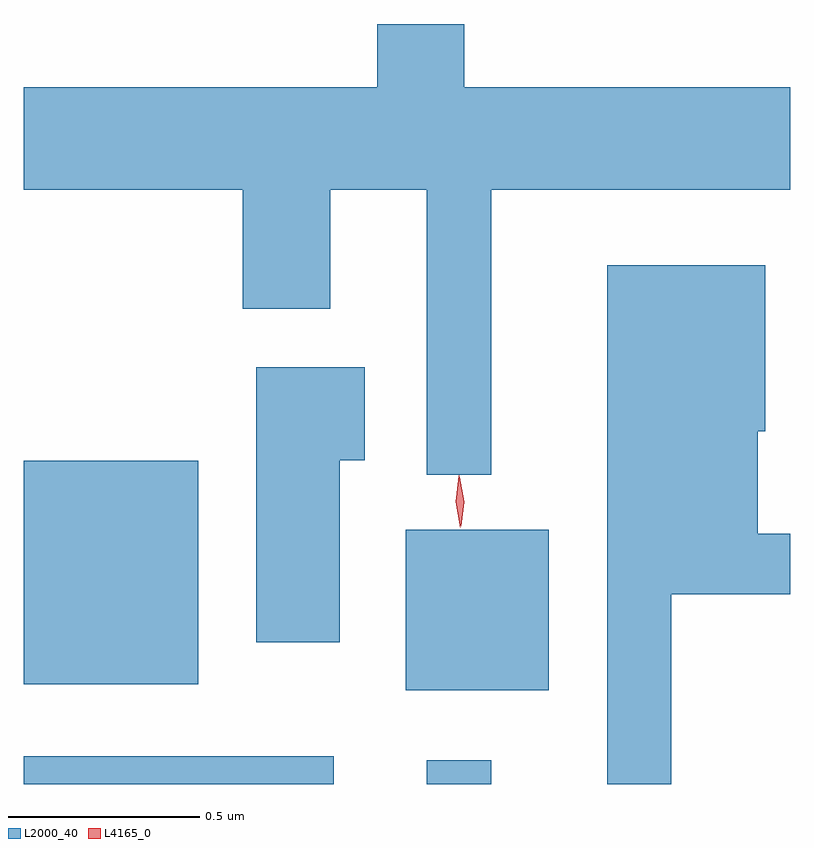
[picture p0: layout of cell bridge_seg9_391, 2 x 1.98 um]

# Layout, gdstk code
import gdstk
lib = gdstk.Library(unit=1e-6, precision=1e-09)
def R(c, l, rs):  # rectangles x0, y0, x1, y1
    for r in rs: c.add(gdstk.rectangle(r[:2], r[2:], *l))
def P(c, l, *ps):  # polygons
    for p in ps: c.add(gdstk.Polygon(p, *l))
L2000_40 = (2000, 40)
L4165_0 = (4165, 0)

bridge_seg9_391 = lib.new_cell('bridge_seg9_391')
R(bridge_seg9_391, L2000_40, [(1056.419,1948.086,1057.228,1948.159), (1057.471,1948.086,1057.639,1948.148), (1057.416,1948.331,1057.789,1948.749), (1056.419,1948.346,1056.874,1948.929)])
P(bridge_seg9_391, L2000_40, [(1057.639,1949.636),(1058.419,1949.636),(1058.419,1949.904),(1057.569,1949.904),(1057.569,1950.069),(1057.341,1950.069),(1057.341,1949.904),(1056.419,1949.904),(1056.419,1949.636),(1056.991,1949.636),(1056.991,1949.326),(1057.219,1949.326),(1057.219,1949.636),(1057.471,1949.636),(1057.471,1948.893),(1057.639,1948.893)],
  [(1058.109,1948.581),(1058.419,1948.581),(1058.419,1948.739),(1058.334,1948.739),(1058.334,1949.006),(1058.354,1949.006),(1058.354,1949.439),(1057.941,1949.439),(1057.941,1948.086),(1058.109,1948.086)],
  [(1057.244,1948.931),(1057.309,1948.931),(1057.309,1949.174),(1057.026,1949.174),(1057.026,1948.456),(1057.244,1948.456)])
P(bridge_seg9_391, L4165_0, [(1057.558,1948.754),(1057.558,1948.754),(1057.546,1948.822),(1057.554,1948.89),(1057.555,1948.891),(1057.555,1948.89),(1057.566,1948.822),(1057.558,1948.754)],
  [(1057.56,1948.758),(1057.56,1948.759),(1057.548,1948.823),(1057.556,1948.887),(1057.556,1948.887),(1057.557,1948.887),(1057.568,1948.823),(1057.561,1948.759)])

lib.write_gds('bridge_seg9_391.gds')
